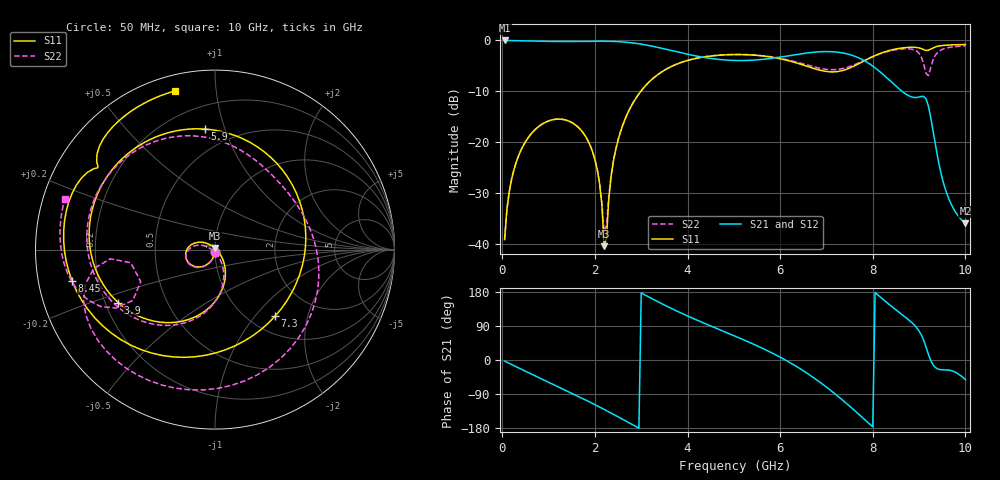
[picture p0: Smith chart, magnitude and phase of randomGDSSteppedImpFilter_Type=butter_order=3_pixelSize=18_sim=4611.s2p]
! freq	dB(S11)	phase(S11)	dB(S12)	phase(S12)
!  dB(S21)	phase(S21)	dB(S22)	phase(S22)
!S-par simulation data
#  GHz  S  DB  R 50
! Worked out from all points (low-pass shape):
!   200 points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, 50 MHz to 10 GHz, reference 50 ohm
!   highest |S21| = -0.01 dB at 50 MHz (marker M1); lowest = -36.0 dB at 10 GHz (marker M2)
!   |S21| within 3 dB of the highest: start of sweep to 4.152 GHz; 6.189 GHz to 7.577 GHz (1.389 GHz wide, 20.2 % of centre)
!   lowest |S11| = -40.5 dB at 2.2 GHz (marker M3), VSWR 1.02, Z = 49.9 + j0.934 ohm
!   |S11| at or under -10 dB: start of sweep to 2.993 GHz
!   |S22| runs from -39.2 to -1.1 dB; largest |S21 - S12| = 0
!   S11 on the Smith chart (normalised r, x): 50 MHz: 1.00, -0.02; 3.9 GHz: 0.25, -0.24; 5.9 GHz: 0.35, +0.86; 7.3 GHz: 1.30, -1.28; 8.45 GHz: 0.10, -0.11; 10 GHz: 0.07, +0.78
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0.05  -39.18 -92.2  -0.01 -3.0  -0.01 -3.0  -39.19 -92.2
0.2  -27.35 -102.1  -0.03 -11.9  -0.03 -11.9  -27.35 -101.6
0.55  -19.25 -123.7  -0.10 -32.5  -0.10 -32.5  -19.25 -122.2
1.75  -18.25 163.5  -0.19 -102.5  -0.19 -102.5  -18.25 171.4
2.05  -25.41 141.3  -0.16 -120.9  -0.16 -120.9  -25.34 160.1
2.2  -40.49 97.7  -0.16 -130.4  -0.16 -130.4  -37.63 -162.1
2.35  -26.76 -44.8  -0.19 -140.1  -0.19 -140.1  -26.50 -63.7
2.55  -18.06 -62.8  -0.27 -153.2  -0.27 -153.2  -18.00 -68.0
3.4  -6.46 -121.2  -1.45 151.2  -1.45 151.2  -6.44 -118.3
3.9  -4.23 -151.3  -2.52 121.8  -2.52 121.8  -4.21 -146.3
5.05  -2.78 146.6  -3.95 61.7  -3.95 61.7  -2.75 157.5
5.9  -3.42 94.9  -3.42 13.9  -3.42 13.9  -3.35 114.9
6.7  -5.44 24.5  -2.34 -44.8  -2.34 -44.8  -5.15 68.3
7.3  -6.03 -47.8  -2.39 -100.9  -2.39 -100.9  -5.62 25.1
7.85  -3.86 -111.2  -4.15 -159.9  -4.15 -159.9  -3.79 -34.3
8.35  -2.00 -159.2  -7.75 146.9  -7.75 146.9  -2.11 -94.6
8.45  -1.78 -167.6  -8.58 137.2  -8.58 137.2  -1.91 -105.7
8.9  -1.35 158.6  -11.23 91.9  -11.23 91.9  -1.87 -153.3
9.15  -1.97 145.1  -11.51 34.3  -11.51 34.3  -6.47 -171.1
9.35  -1.28 138.3  -20.44 -19.6  -20.44 -19.6  -2.94 -153.6
9.6  -0.93 124.1  -30.17 -26.2  -30.17 -26.2  -1.47 -174.9
10  -0.80 104.2  -35.97 -51.7  -35.97 -51.7  -1.08 161.4
